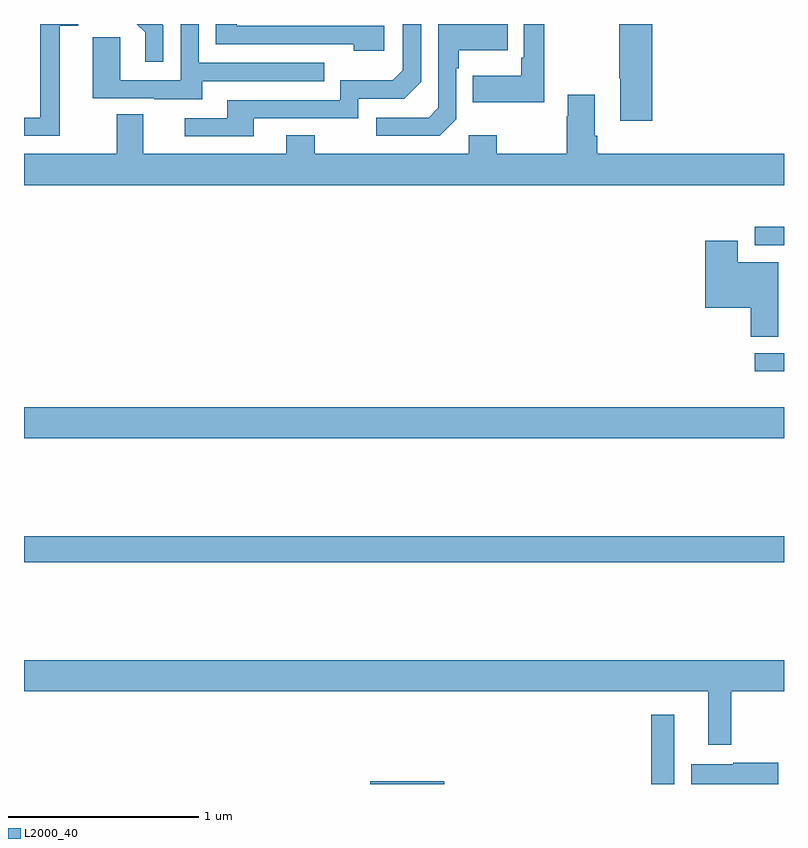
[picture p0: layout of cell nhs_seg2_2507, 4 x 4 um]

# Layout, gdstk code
import gdstk
lib = gdstk.Library(unit=1e-6, precision=1e-09)
def R(c, l, rs):  # rectangles x0, y0, x1, y1
    for r in rs: c.add(gdstk.rectangle(r[:2], r[2:], *l))
def P(c, l, *ps):  # polygons
    for p in ps: c.add(gdstk.Polygon(p, *l))
L2000_40 = (2000, 40)

nhs_seg2_2507 = lib.new_cell('nhs_seg2_2507')
R(nhs_seg2_2507, L2000_40, [(242.822,661.8,243.211,661.815), (244.302,661.8,244.423,662.164), (241,662.968,245,663.104), (241,663.62,245,663.784), (244.845,663.972,245,664.068), (244.845,664.635,245,664.734)])
P(nhs_seg2_2507, L2000_40, [(243.739,665.8),(243.63,665.8),(243.63,665.623),(243.618,665.623),(243.618,665.527),(243.361,665.527),(243.361,665.387),(243.739,665.387)],
  [(242.209,665.304),(242.76,665.304),(242.76,665.406),(243,665.406),(243.09,665.496),(243.09,665.8),(242.994,665.8),(242.994,665.556),(242.941,665.503),(242.664,665.503),(242.664,665.4),(242.069,665.4),(242.069,665.304),(241.845,665.304),(241.845,665.208),(242.209,665.208)],
  [(241.734,665.794),(241.728,665.8),(241.594,665.8),(241.637,665.757),(241.637,665.601),(241.734,665.601)],
  [(241.189,665.792),(241.285,665.792),(241.285,665.8),(241.085,665.8),(241.085,665.307),(241,665.307),(241,665.211),(241.189,665.211)],
  [(241.939,665.499),(242.579,665.499),(242.579,665.595),(241.92,665.595),(241.92,665.8),(241.824,665.8),(241.824,665.505),(241.506,665.505),(241.506,665.729),(241.361,665.729),(241.361,665.409),(241.685,665.409),(241.685,665.405),(241.939,665.405)],
  [(243.276,665.298),(243.276,665.567),(243.289,665.567),(243.289,665.663),(243.545,665.663),(243.545,665.8),(243.18,665.8),(243.18,665.358),(243.129,665.307),(242.853,665.307),(242.853,665.211),(243.189,665.211)],
  [(244.307,665.8),(244.132,665.8),(244.132,665.515),(244.139,665.515),(244.139,665.292),(244.307,665.292)],
  [(242.896,665.79),(242.119,665.79),(242.119,665.8),(242.01,665.8),(242.01,665.694),(242.735,665.694),(242.735,665.66),(242.896,665.66)],
  [(245,665.116),(244.016,665.116),(244.016,665.212),(244.003,665.212),(244.003,665.428),(243.863,665.428),(243.863,665.315),(243.856,665.315),(243.856,665.116),(243.489,665.116),(243.489,665.215),(243.342,665.215),(243.342,665.116),(242.529,665.116),(242.529,665.215),(242.381,665.215),(242.381,665.116),(241.627,665.116),(241.627,665.324),(241.487,665.324),(241.487,665.116),(241,665.116),(241,664.952),(245,664.952)],
  [(244.969,664.546),(244.756,664.546),(244.756,664.66),(244.586,664.66),(244.586,664.307),(244.826,664.307),(244.826,664.153),(244.969,664.153)],
  [(244.723,662.288),(245,662.288),(245,662.452),(241,662.452),(241,662.288),(244.601,662.288),(244.601,662.007),(244.723,662.007)],
  [(244.969,661.911),(244.734,661.911),(244.734,661.903),(244.511,661.903),(244.511,661.8),(244.969,661.8)])

lib.write_gds('nhs_seg2_2507.gds')
